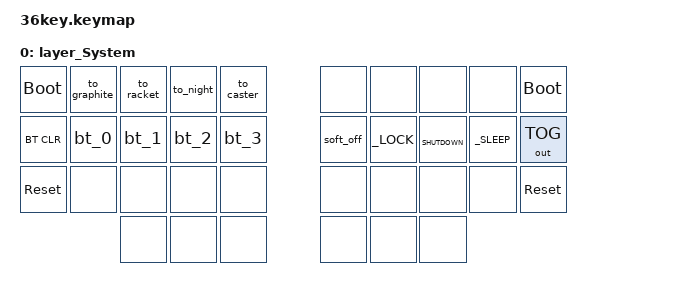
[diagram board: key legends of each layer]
/* Generic 36-key wrapper.
 * Any 36-key board can use this as a starting point.
 */

#include <zmk-helpers/key-labels/36.h>

#define THUMBS LH2 LH1 LH0 RH0 RH1 RH2

#define GRAPHITE_LH &nav_ht LAYER_Nav 0  &thumb_bspc LSHFT 0  &none
#define GRAPHITE_RH &none  &thumb_spc LAYER_Symbol SPACE  &lt LAYER_Num RET

#define RACKET_LH &lt LAYER_Nav BSPC  &thumb_r LAYER_Symbol R  &none
#define RACKET_RH &none  &kp SPACE  &nav_repeat LAYER_Num 0

#define VESTNIK_LH &nav_ht LAYER_Nav 0  &thumb_bspc LSHFT 0  &none
#define VESTNIK_RH &none  &thumb_spc LAYER_Symbol SPACE  &lt LAYER_Num RET

#define CASTER_LH &nav_repeat LAYER_Num 0  &kp SPACE  &none
#define CASTER_RH &none  &thumb_r LAYER_Symbol E  &lt LAYER_Nav BSPC

#define NIGHT_LH &lt LAYER_Nav BSPC  &thumb_r LAYER_Symbol R  &none
#define NIGHT_RH &none  &kp SPACE  &nav_repeat LAYER_Num 0

#define SYMBOL_LH  &trans  &kp SPACE  &none
#define SYMBOL_RH  &none  &kp SPACE  &trans

#define NAV_LH     &none  &mouse_ht LAYER_Mouse LAYER_Mouse  &none
#define NAV_RH     &kp RET  &none  &none

#define NUM_LH     &kp COMMA  &kp N0  &none
#define NUM_RH     &none  &sl LAYER_Fn  &none

#define NUMMIRROR_LH &none  &none  &none
#define NUMMIRROR_RH &none  &kp N0  &kp COMMA

#define FN_LH      &kp C_MUTE  &kp LG(F9)  &none
#define FN_RH      &none  &trans  &trans

#define MOUSE_LH   &none  &mouse_ht LAYER_Mouse LAYER_Mouse  &none
#define MOUSE_RH   &none  &mkp LCLK  &mkp RCLK

#include "base.keymap"

/ {
    keymap {
        compatible = "zmk,keymap";

        layer_System {
            bindings = <
     &bootloader   &to_graphite  &to_racket    &to_night &to_caster   &none       &none        &none        &none      &bootloader
     &bt BT_CLR    &bt_0         &bt_1         &bt_2         &bt_3              &soft_off   &kp _LOCK    &kp _SHUTDOWN &kp _SLEEP &out OUT_TOG
     &sys_reset    &none         &none         &none         &none              &none       &none        &none        &none      &sys_reset
                              &none       &none                &none              &none       &none        &none
            >;
        };

    };
};
